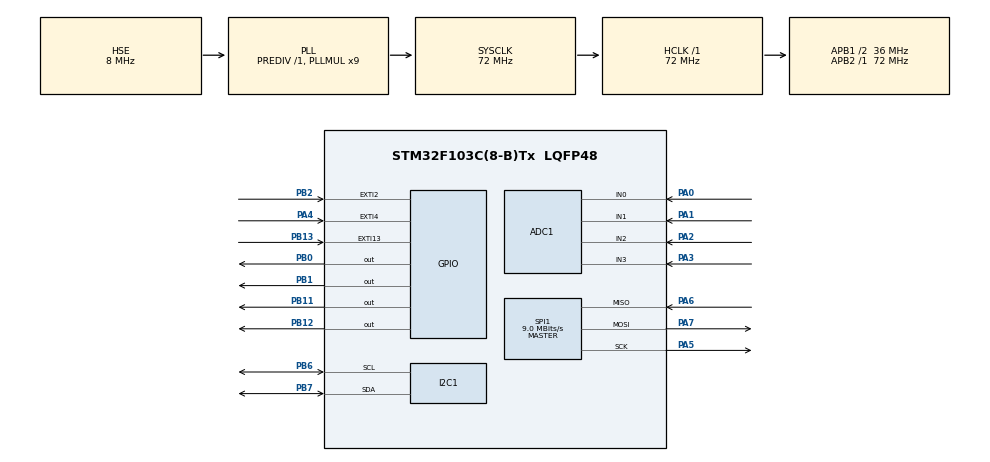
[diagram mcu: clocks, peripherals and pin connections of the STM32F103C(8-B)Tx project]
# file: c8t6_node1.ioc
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ADC1.Channel-0\#ChannelRegularConversion=ADC_CHANNEL_0
ADC1.Channel-1\#ChannelRegularConversion=ADC_CHANNEL_1
ADC1.Channel-2\#ChannelRegularConversion=ADC_CHANNEL_2
ADC1.Channel-3\#ChannelRegularConversion=ADC_CHANNEL_3
ADC1.ContinuousConvMode=ENABLE
ADC1.NbrOfConversion=4
ADC1.NbrOfConversionFlag=1
ADC1.Rank-0\#ChannelRegularConversion=1
ADC1.Rank-1\#ChannelRegularConversion=2
ADC1.Rank-2\#ChannelRegularConversion=3
ADC1.Rank-3\#ChannelRegularConversion=4
ADC1.SamplingTime-0\#ChannelRegularConversion=ADC_SAMPLETIME_239CYCLES_5
ADC1.SamplingTime-1\#ChannelRegularConversion=ADC_SAMPLETIME_239CYCLES_5
ADC1.SamplingTime-2\#ChannelRegularConversion=ADC_SAMPLETIME_239CYCLES_5
ADC1.SamplingTime-3\#ChannelRegularConversion=ADC_SAMPLETIME_239CYCLES_5
ADC1.master=1
Dma.ADC1.0.Direction=DMA_PERIPH_TO_MEMORY
Dma.ADC1.0.Instance=DMA1_Channel1
Dma.ADC1.0.MemDataAlignment=DMA_MDATAALIGN_WORD
Dma.ADC1.0.MemInc=DMA_MINC_ENABLE
Dma.ADC1.0.Mode=DMA_CIRCULAR
Dma.ADC1.0.PeriphDataAlignment=DMA_PDATAALIGN_WORD
Dma.ADC1.0.PeriphInc=DMA_PINC_DISABLE
Dma.ADC1.0.Priority=DMA_PRIORITY_LOW
Dma.Request0=ADC1
Mcu.Family=STM32F1
Mcu.Name=STM32F103C(8-B)Tx
Mcu.Package=LQFP48
NVIC.EXTI15_10_IRQn=true\:0\:0\:false\:false\:true\:true\:true\:true
NVIC.EXTI2_IRQn=true\:0\:0\:false\:false\:true\:true\:true\:true
NVIC.EXTI4_IRQn=true\:0\:0\:false\:false\:true\:true\:true\:true
NVIC.PriorityGroup=NVIC_PRIORITYGROUP_4
PA0-WKUP.Signal=ADCx_IN0
PA1.Signal=ADCx_IN1
PA13.Mode=Serial_Wire
PA13.Signal=SYS_JTMS-SWDIO
PA14.Mode=Serial_Wire
PA14.Signal=SYS_JTCK-SWCLK
PA2.Signal=ADCx_IN2
PA3.Signal=ADCx_IN3
PA4.GPIO_ModeDefaultEXTI=GPIO_MODE_IT_FALLING
PA4.GPIO_PuPd=GPIO_PULLUP
PA4.Signal=GPXTI4
PA5.Mode=Full_Duplex_Master
PA5.Signal=SPI1_SCK
PA6.Mode=Full_Duplex_Master
PA6.Signal=SPI1_MISO
PA7.Mode=Full_Duplex_Master
PA7.Signal=SPI1_MOSI
PB0.Signal=GPIO_Output
PB1.Signal=GPIO_Output
PB11.Signal=GPIO_Output
PB12.Signal=GPIO_Output
PB13.GPIO_ModeDefaultEXTI=GPIO_MODE_IT_FALLING
PB13.GPIO_PuPd=GPIO_PULLUP
PB13.Signal=GPXTI13
PB2.GPIO_PuPd=GPIO_PULLDOWN
PB2.Signal=GPXTI2
PB6.Mode=I2C
PB6.Signal=I2C1_SCL
PB7.Mode=I2C
PB7.Signal=I2C1_SDA
PD0-OSC_IN.Mode=HSE-External-Oscillator
PD0-OSC_IN.Signal=RCC_OSC_IN
PD1-OSC_OUT.Mode=HSE-External-Oscillator
PD1-OSC_OUT.Signal=RCC_OSC_OUT
ProjectManager.HeapSize=0x200
ProjectManager.StackSize=0x400
ProjectManager.TargetToolchain=STM32CubeIDE
RCC.ADCPresc=RCC_ADCPCLK2_DIV8
RCC.AHBFreq_Value=72000000
RCC.APB1CLKDivider=RCC_HCLK_DIV2
RCC.APB1Freq_Value=36000000
RCC.APB1TimFreq_Value=72000000
RCC.APB2Freq_Value=72000000
RCC.APB2TimFreq_Value=72000000
RCC.HCLKFreq_Value=72000000
RCC.PLLMUL=RCC_PLL_MUL9
RCC.PLLSourceVirtual=RCC_PLLSOURCE_HSE
RCC.SYSCLKFreq_VALUE=72000000
RCC.SYSCLKSource=RCC_SYSCLKSOURCE_PLLCLK
RCC.USBFreq_Value=72000000
SH.ADCx_IN0.0=ADC1_IN0,IN0
SH.ADCx_IN1.0=ADC1_IN1,IN1
SH.ADCx_IN2.0=ADC1_IN2,IN2
SH.ADCx_IN3.0=ADC1_IN3,IN3
SPI1.BaudRatePrescaler=SPI_BAUDRATEPRESCALER_8
SPI1.CalculateBaudRate=9.0 MBits/s
SPI1.Direction=SPI_DIRECTION_2LINES
SPI1.Mode=SPI_MODE_MASTER
SPI1.VirtualType=VM_MASTER
TIM1.Prescaler=72
VP_TIM1_VS_ClockSourceINT.Mode=Internal
board=custom

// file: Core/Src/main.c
/* USER CODE BEGIN Header */
/**
 ******************************************************************************
 * @file           : main.c
 * @brief          : Main program body
 ******************************************************************************
 * @attention
 *
 * Copyright (c) 2024 STMicroelectronics.
 * All rights reserved.
 *
 * This software is licensed under terms that can be found in the LICENSE file
 * in the root directory of this software component.
 * If no LICENSE file comes with this software, it is provided AS-IS.
 *
 ******************************************************************************
 */
/* USER CODE END Header */
#include "main.h"

/* USER CODE BEGIN Includes */
#include "oled.h"
#include "sx1278.h"
#include "stdio.h"
#include "math.h"
#include <stdlib.h>
#define  id_node 1
#define  rx 0
#define  tx 1
#define PUTCHAR_PROTOTYPE int __io_putchar(int ch)

#define OUTPUT_PIN_B11 (*(volatile uint32_t *)0x422181AC) // Bit 11 của GPIOB_ODR
#define OUTPUT_PIN_B12 (*(volatile uint32_t *)0x422181B0) // Bit 12 của GPIOB_ODR
#define OUTPUT_PIN_B13 (*(volatile uint32_t *)0x422181B4)

#define RELAY 		OUTPUT_PIN_B11
#define LED 		OUTPUT_PIN_B12
#define TEST 		OUTPUT_PIN_B13
/* USER CODE END Includes */

ADC_HandleTypeDef hadc1;
DMA_HandleTypeDef hdma_adc1;

I2C_HandleTypeDef hi2c1;

SPI_HandleTypeDef hspi1;

TIM_HandleTypeDef htim1;

void SystemClock_Config(void);
static void MX_GPIO_Init(void);
static void MX_DMA_Init(void);
static void MX_ADC1_Init(void);
static void MX_I2C1_Init(void);
static void MX_SPI1_Init(void);
static void MX_TIM1_Init(void);

/* USER CODE BEGIN 0 */
uint8_t RxDt[3];
volatile uint8_t relay_status = 0, mode_hien_tai = 0;
char tx_lora_bf[21] = { };
void lora_node_send() {
	if (RELAY == 0)
		tx_lora_bf[16] = 1;
	else
		tx_lora_bf[16] = 0;
	standby_mode();
	writeRegister(0x0D, 0);
	writeRegister(0x22, 0);
	writeRegister(0, id_node - 1);
	for (unsigned char i = 0; i < 18; i++) {
		writeRegister(0, tx_lora_bf[i]);
	}
	writeRegister(0x22, 18);
	tx_mode();
}

void HAL_GPIO_EXTI_Callback(uint16_t GPIO_Pin) {
	switch (GPIO_Pin) {
	case GPIO_PIN_2:
		if (mode_hien_tai == rx) {
			writeRegister(0x12, readRegister(0x12) | 0x40); // xoa co
			writeRegister(0x0d, readRegister(0x10)); // dua con tro ve vi tri dau
			RxDt[0] = readRegister(0);
			RxDt[1] = readRegister(0);
			RxDt[2] = readRegister(0);
			if(RxDt[0] == (id_node - 1))
			{
				if (RxDt[1] == 0xFD)
				{
					LED = 0;
					writeRegister(0x40, 0X40); // anh xa tx done
					lora_node_send();
					mode_hien_tai = tx;
					////////////////them thoi gian timeout vao day
				}
				else if(RxDt[1] == 0xFE)
				{
					LED = 0;
					relay_status = RxDt[2];
					if ((relay_status & 0x80) == 0x80) {
						RELAY = ~(relay_status & 0x01); /// vi relay kich muc 0
					}
					mode_hien_tai = tx;
				}
				else;
			}
		} else {
			LED = 1;
			writeRegister(0x12, 0x08);
			writeRegister(0x40, 0X00); // anh xa rx done
			rx_mode();
			mode_hien_tai = rx;
		}
		break;
	case GPIO_PIN_4:
		RELAY = 0;
		break;
	case GPIO_PIN_13:
		RELAY = 1;
		break;
	}
}

// bien lien quan ADC
uint16_t somau = 0, somau_max = 300;
int32_t mang_adc1[300] = { }, adc_tong1 = 0;
int32_t mang_adc2[300] = { }, adc_tong2 = 0;
int32_t mang_adc3[300] = { }, adc_tong3 = 0;
int32_t mang_adc4[300] = { }, adc_tong4 = 0;

float mau_dong_dien1[150] = { };
float mau_dong_dien2[150] = { };
float mau_dong_dien3[150] = { };
float mau_dong_dien4[150] = { };

float tong_dong1 = 0, irms1 = 0;
float tong_dong2 = 0, irms2 = 0;
float tong_dong3 = 0, irms3 = 0;
float tong_dong4 = 0, irms4 = 0;

float irms[4] = { };

uint32_t adc_values[4];

//////////////////////////////

/* USER CODE END 0 */

int main(void) {

	/* MCU Configuration--------------------------------------------------------*/

	/* Reset of all peripherals, Initializes the Flash interface and the Systick. */
	HAL_Init();

	/* Configure the system clock */
	SystemClock_Config();

	/* Initialize all configured peripherals */
	MX_GPIO_Init();
	MX_DMA_Init();
	MX_ADC1_Init();
	MX_I2C1_Init();
	MX_SPI1_Init();
	MX_TIM1_Init();
	/* USER CODE BEGIN 2 */
	RELAY = 1;
	HAL_I2C_Init(&hi2c1);
	HAL_SPI_Init(&hspi1);
	setbuf(stdout, NULL);
	oled_init();
	oled_display_pattern();
	sx1278_init(0x6c4000);
	rx_mode();
	HAL_TIM_Base_Start(&htim1);
	HAL_ADCEx_Calibration_Start(&hadc1);
	HAL_ADC_Start_DMA(&hadc1, adc_values, 4);
	oled_set_cursor(0, 0);
	printf("NODE_%d", (uint8_t) id_node);
	LED = 1;

//	HAL_Delay(1000);
	/* USER CODE END 2 */

	/* Infinite loop */
	while (1) {

		/* USER CODE BEGIN 3 */

		somau = 0;
		while (somau < somau_max) {
			__HAL_TIM_SET_COUNTER(&htim1, 0);
			mang_adc1[somau] = adc_values[0];
			mang_adc2[somau] = adc_values[1];
			mang_adc3[somau] = adc_values[2];
			mang_adc4[somau] = adc_values[3];
			somau++;
			while (__HAL_TIM_GET_COUNTER(&htim1) < 200) {
			}
		}
/////////////////////////////////////////
//		for (unsigned int i = 0; i < somau_max; i = i + 2) {
//			if (mang_adc1[i] > 2048 && mang_adc1[i + 1] > 2048) {
//				if (mang_adc1[i] < mang_adc1[i + 1])
//					mang_adc1[i / 2] = mang_adc1[i];
//				else
//					mang_adc1[i / 2] = mang_adc1[i + 1];
//
//			} else if (mang_adc1[i] == 2048 && mang_adc1[i + 1] == 2048)
//				mang_adc1[i / 2] = 2048;
//
//			else if (mang_adc1[i] < 2048 && mang_adc1[i + 1] < 2048) {
//				if (mang_adc1[i] < mang_adc1[i + 1])
//					mang_adc1[i / 2] = mang_adc1[i + 1];
//				else
//					mang_adc1[i / 2] = mang_adc1[i];
//			} else {
//				if ((abs(2048 - mang_adc1[i])) > (abs(2048 - mang_adc1[i + 1])))
//					mang_adc1[i / 2] = mang_adc1[i + 1];
//				else
//					mang_adc1[i / 2] = mang_adc1[i];
//
//			}
//		}
//
//		for (unsigned int i = 0; i < somau_max / 2; i = i + 2) {
//			mang_adc1[i / 2] = (mang_adc1[i] + mang_adc1[i + 1]) / 2;
//			mau_dong_dien1[i / 2] = (((float) mang_adc1[i / 2] * (3.3 / 4096.0))
//					- 1.65) / 0.02;
//		}

		for (unsigned int i = 0; i < somau_max; i = i + 2) {
			mang_adc1[i / 2] = (mang_adc1[i] + mang_adc1[i + 1]) / 2;
			mau_dong_dien1[i / 2] = (((float) mang_adc1[i / 2] * (3.3 / 4096.0))
					- 1.65) / 0.02;

			mang_adc2[i / 2] = (mang_adc2[i] + mang_adc2[i + 1]) / 2;
			mau_dong_dien2[i / 2] = (((float) mang_adc2[i / 2] * (3.3 / 4096.0))
					- 1.65) / 0.02;

			mang_adc3[i / 2] = (mang_adc3[i] + mang_adc3[i + 1]) / 2;
			mau_dong_dien3[i / 2] = (((float) mang_adc3[i / 2] * (3.3 / 4096.0))
					- 1.65) / 0.02;

			mang_adc4[i / 2] = (mang_adc4[i] + mang_adc4[i + 1]) / 2;
			mau_dong_dien4[i / 2] = (((float) mang_adc4[i / 2] * (3.3 / 4096.0))
					- 1.65) / 0.02;
		}

		tong_dong1 = 0;
		tong_dong2 = 0;
		tong_dong3 = 0;
		tong_dong4 = 0;

		for (unsigned int i = 0; i < somau_max / 2; i++) {
			tong_dong1 = tong_dong1 + mau_dong_dien1[i] * mau_dong_dien1[i];
			tong_dong2 = tong_dong2 + mau_dong_dien2[i] * mau_dong_dien2[i];
			tong_dong3 = tong_dong3 + mau_dong_dien3[i] * mau_dong_dien3[i];
			tong_dong4 = tong_dong4 + mau_dong_dien4[i] * mau_dong_dien4[i];
		}

		irms[0] = sqrt(tong_dong1 / 75.0) - 0.15;
		if (irms[0] < 0.2)
			irms[0] = 0;
		if (irms[0] > 50)
			irms[0] = 50;

		irms[1] = sqrt(tong_dong2 / 75.0) - 0.15;
		if (irms[1] < 0.2)
			irms[1] = 0;
		if (irms[1] > 50)
			irms[1] = 50;

		irms[2] = sqrt(tong_dong3 / 75.0) - 0.15;
		if (irms[2] < 0.2)
			irms[2] = 0;
		if (irms[2] > 50)
			irms[2] = 50;

		irms[3] = sqrt(tong_dong4 / 75.0) - 0.15;
		if (irms[3] < 0.2)
			irms[3] = 0;
		if (irms[3] > 50)
			irms[3] = 50;

//////////////////////////////////////

		oled_set_cursor(0, 0);
		printf("I1 : %05.2f A", irms[0]);
		oled_set_cursor(0, 2);
		printf("I2 : %05.2f A", irms[1]);
		oled_set_cursor(0, 4);
		printf("I3 : %05.2f A", irms[2]);
		oled_set_cursor(0, 6);
		printf("I4 : %05.2f A", irms[3]);

		sprintf(tx_lora_bf, "%04d%04d%04d%04d", (uint16_t) (irms[0] * 100),
				(uint16_t) (irms[1] * 100), (uint16_t) (irms[2] * 100),
				(uint16_t) (irms[3] * 100));

	}
	/* USER CODE END 3 */
}

void SystemClock_Config(void) {
	RCC_OscInitTypeDef RCC_OscInitStruct = { 0 };
	RCC_ClkInitTypeDef RCC_ClkInitStruct = { 0 };
	RCC_PeriphCLKInitTypeDef PeriphClkInit = { 0 };

	/** Initializes the RCC Oscillators according to the specified parameters
	 * in the RCC_OscInitTypeDef structure.
	 */
	RCC_OscInitStruct.OscillatorType = RCC_OSCILLATORTYPE_HSE;
	RCC_OscInitStruct.HSEState = RCC_HSE_ON;
	RCC_OscInitStruct.HSEPredivValue = RCC_HSE_PREDIV_DIV1;
	RCC_OscInitStruct.HSIState = RCC_HSI_ON;
	RCC_OscInitStruct.PLL.PLLState = RCC_PLL_ON;
	RCC_OscInitStruct.PLL.PLLSource = RCC_PLLSOURCE_HSE;
	RCC_OscInitStruct.PLL.PLLMUL = RCC_PLL_MUL9;
	if (HAL_RCC_OscConfig(&RCC_OscInitStruct) != HAL_OK) {
		Error_Handler();
	}

	/** Initializes the CPU, AHB and APB buses clocks
	 */
	RCC_ClkInitStruct.ClockType = RCC_CLOCKTYPE_HCLK | RCC_CLOCKTYPE_SYSCLK
			| RCC_CLOCKTYPE_PCLK1 | RCC_CLOCKTYPE_PCLK2;
	RCC_ClkInitStruct.SYSCLKSource = RCC_SYSCLKSOURCE_PLLCLK;
	RCC_ClkInitStruct.AHBCLKDivider = RCC_SYSCLK_DIV1;
	RCC_ClkInitStruct.APB1CLKDivider = RCC_HCLK_DIV2;
	RCC_ClkInitStruct.APB2CLKDivider = RCC_HCLK_DIV1;

	if (HAL_RCC_ClockConfig(&RCC_ClkInitStruct, FLASH_LATENCY_2) != HAL_OK) {
		Error_Handler();
	}
	PeriphClkInit.PeriphClockSelection = RCC_PERIPHCLK_ADC;
	PeriphClkInit.AdcClockSelection = RCC_ADCPCLK2_DIV8;
	if (HAL_RCCEx_PeriphCLKConfig(&PeriphClkInit) != HAL_OK) {
		Error_Handler();
	}
}

static void MX_ADC1_Init(void) {

	ADC_ChannelConfTypeDef sConfig = { 0 };

	/** Common config
	 */
	hadc1.Instance = ADC1;
	hadc1.Init.ScanConvMode = ADC_SCAN_ENABLE;
	hadc1.Init.ContinuousConvMode = ENABLE;
	hadc1.Init.DiscontinuousConvMode = DISABLE;
	hadc1.Init.ExternalTrigConv = ADC_SOFTWARE_START;
	hadc1.Init.DataAlign = ADC_DATAALIGN_RIGHT;
	hadc1.Init.NbrOfConversion = 4;
	if (HAL_ADC_Init(&hadc1) != HAL_OK) {
		Error_Handler();
	}

	/** Configure Regular Channel
	 */
	sConfig.Channel = ADC_CHANNEL_0;
	sConfig.Rank = ADC_REGULAR_RANK_1;
	sConfig.SamplingTime = ADC_SAMPLETIME_239CYCLES_5;
	if (HAL_ADC_ConfigChannel(&hadc1, &sConfig) != HAL_OK) {
		Error_Handler();
	}

	/** Configure Regular Channel
	 */
	sConfig.Channel = ADC_CHANNEL_1;
	sConfig.Rank = ADC_REGULAR_RANK_2;
	if (HAL_ADC_ConfigChannel(&hadc1, &sConfig) != HAL_OK) {
		Error_Handler();
	}

	/** Configure Regular Channel
	 */
	sConfig.Channel = ADC_CHANNEL_2;
	sConfig.Rank = ADC_REGULAR_RANK_3;
	if (HAL_ADC_ConfigChannel(&hadc1, &sConfig) != HAL_OK) {
		Error_Handler();
	}

	/** Configure Regular Channel
	 */
	sConfig.Channel = ADC_CHANNEL_3;
	sConfig.Rank = ADC_REGULAR_RANK_4;
	if (HAL_ADC_ConfigChannel(&hadc1, &sConfig) != HAL_OK) {
		Error_Handler();
	}

}

static void MX_I2C1_Init(void) {

	hi2c1.Instance = I2C1;
	hi2c1.Init.ClockSpeed = 100000;
	hi2c1.Init.DutyCycle = I2C_DUTYCYCLE_2;
	hi2c1.Init.OwnAddress1 = 0;
	hi2c1.Init.AddressingMode = I2C_ADDRESSINGMODE_7BIT;
	hi2c1.Init.DualAddressMode = I2C_DUALADDRESS_DISABLE;
	hi2c1.Init.OwnAddress2 = 0;
	hi2c1.Init.GeneralCallMode = I2C_GENERALCALL_DISABLE;
	hi2c1.Init.NoStretchMode = I2C_NOSTRETCH_DISABLE;
	if (HAL_I2C_Init(&hi2c1) != HAL_OK) {
		Error_Handler();
	}

}

static void MX_SPI1_Init(void) {

	/* SPI1 parameter configuration*/
	hspi1.Instance = SPI1;
	hspi1.Init.Mode = SPI_MODE_MASTER;
	hspi1.Init.Direction = SPI_DIRECTION_2LINES;
	hspi1.Init.DataSize = SPI_DATASIZE_8BIT;
	hspi1.Init.CLKPolarity = SPI_POLARITY_LOW;
	hspi1.Init.CLKPhase = SPI_PHASE_1EDGE;
	hspi1.Init.NSS = SPI_NSS_SOFT;
	hspi1.Init.BaudRatePrescaler = SPI_BAUDRATEPRESCALER_8;
	hspi1.Init.FirstBit = SPI_FIRSTBIT_MSB;
	hspi1.Init.TIMode = SPI_TIMODE_DISABLE;
	hspi1.Init.CRCCalculation = SPI_CRCCALCULATION_DISABLE;
	hspi1.Init.CRCPolynomial = 10;
	if (HAL_SPI_Init(&hspi1) != HAL_OK) {
		Error_Handler();
	}

}

static void MX_TIM1_Init(void) {

	TIM_ClockConfigTypeDef sClockSourceConfig = { 0 };
	TIM_MasterConfigTypeDef sMasterConfig = { 0 };

	htim1.Instance = TIM1;
	htim1.Init.Prescaler = 72;
	htim1.Init.CounterMode = TIM_COUNTERMODE_UP;
	htim1.Init.Period = 65535;
	htim1.Init.ClockDivision = TIM_CLOCKDIVISION_DIV1;
	htim1.Init.RepetitionCounter = 0;
	htim1.Init.AutoReloadPreload = TIM_AUTORELOAD_PRELOAD_DISABLE;
	if (HAL_TIM_Base_Init(&htim1) != HAL_OK) {
		Error_Handler();
	}
	sClockSourceConfig.ClockSource = TIM_CLOCKSOURCE_INTERNAL;
	if (HAL_TIM_ConfigClockSource(&htim1, &sClockSourceConfig) != HAL_OK) {
		Error_Handler();
	}
	sMasterConfig.MasterOutputTrigger = TIM_TRGO_RESET;
	sMasterConfig.MasterSlaveMode = TIM_MASTERSLAVEMODE_DISABLE;
	if (HAL_TIMEx_MasterConfigSynchronization(&htim1, &sMasterConfig)
			!= HAL_OK) {
		Error_Handler();
	}

}

static void MX_DMA_Init(void) {

	/* DMA controller clock enable */
	__HAL_RCC_DMA1_CLK_ENABLE();

}

static void MX_GPIO_Init(void) {
	GPIO_InitTypeDef GPIO_InitStruct = { 0 };

	/* GPIO Ports Clock Enable */
	__HAL_RCC_GPIOD_CLK_ENABLE();
	__HAL_RCC_GPIOA_CLK_ENABLE();
	__HAL_RCC_GPIOB_CLK_ENABLE();

	/*Configure GPIO pin Output Level */
	HAL_GPIO_WritePin(GPIOB,
	GPIO_PIN_0 | GPIO_PIN_1 | GPIO_PIN_11 | GPIO_PIN_12, GPIO_PIN_RESET);

	/*Configure GPIO pin : PA4 */
	GPIO_InitStruct.Pin = GPIO_PIN_4;
	GPIO_InitStruct.Mode = GPIO_MODE_IT_FALLING;
	GPIO_InitStruct.Pull = GPIO_PULLUP;
	HAL_GPIO_Init(GPIOA, &GPIO_InitStruct);

	/*Configure GPIO pins : PB0 PB1 PB11 PB12 */
	GPIO_InitStruct.Pin = GPIO_PIN_0 | GPIO_PIN_1 | GPIO_PIN_11 | GPIO_PIN_12;
	GPIO_InitStruct.Mode = GPIO_MODE_OUTPUT_PP;
	GPIO_InitStruct.Pull = GPIO_NOPULL;
	GPIO_InitStruct.Speed = GPIO_SPEED_FREQ_LOW;
	HAL_GPIO_Init(GPIOB, &GPIO_InitStruct);

	/*Configure GPIO pin : PB2 */
	GPIO_InitStruct.Pin = GPIO_PIN_2;
	GPIO_InitStruct.Mode = GPIO_MODE_IT_RISING;
	GPIO_InitStruct.Pull = GPIO_PULLDOWN;
	HAL_GPIO_Init(GPIOB, &GPIO_InitStruct);

	/*Configure GPIO pin : PB13 */
	GPIO_InitStruct.Pin = GPIO_PIN_13;
	GPIO_InitStruct.Mode = GPIO_MODE_IT_FALLING;
	GPIO_InitStruct.Pull = GPIO_PULLUP;
	HAL_GPIO_Init(GPIOB, &GPIO_InitStruct);

	/* EXTI interrupt init*/
	HAL_NVIC_SetPriority(EXTI2_IRQn, 0, 0);
	HAL_NVIC_EnableIRQ(EXTI2_IRQn);

	HAL_NVIC_SetPriority(EXTI4_IRQn, 0, 0);
	HAL_NVIC_EnableIRQ(EXTI4_IRQn);

	HAL_NVIC_SetPriority(EXTI15_10_IRQn, 0, 0);
	HAL_NVIC_EnableIRQ(EXTI15_10_IRQn);

}

/* USER CODE BEGIN 4 */
PUTCHAR_PROTOTYPE {
	/* Place your implementation of fputc here */
	/* e.g. write a character to the USART1 and Loop until the end of transmission */
	ssd1306_char_f8x16(ch);
//	oled_display_char(ch);

	return ch;
}
/* USER CODE END 4 */

void Error_Handler(void) {
	__disable_irq();
	while (1) {
	}
}
